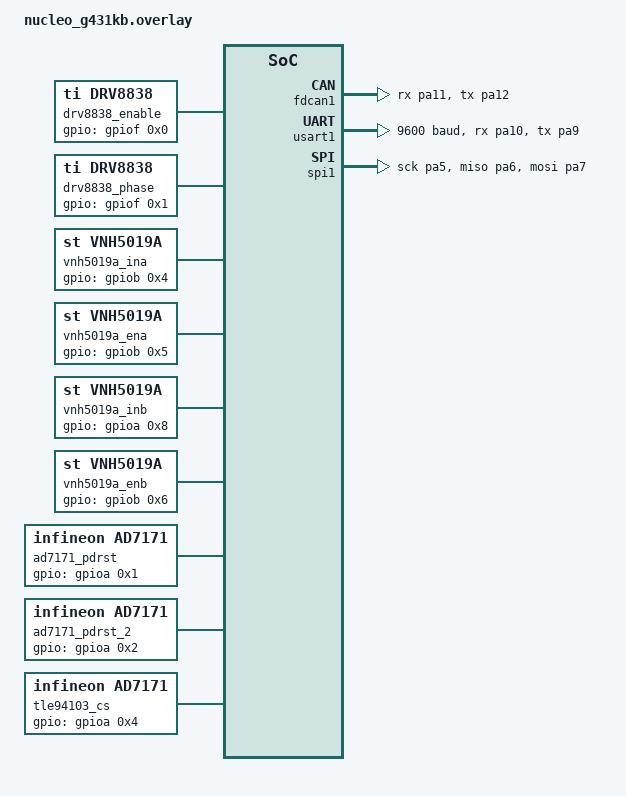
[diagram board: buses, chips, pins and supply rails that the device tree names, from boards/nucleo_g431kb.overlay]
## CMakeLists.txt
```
# SPDX-License-Identifier: Apache-2.0

cmake_minimum_required(VERSION 3.20.0)

find_package(Zephyr REQUIRED HINTS $ENV{ZEPHYR_BASE})
project(driverModule)
set(TARGET_NAME app)
set(sources src/main.cpp
            src/motor/tle94103.cpp
            src/motor/drv8838.cpp
            src/motor/vnh5019a.cpp
            src/buttons.cpp
            src/dictionary.cpp
            src/can/can.cpp
            src/lin/lin.cpp            
            src/spi/zephyrSpi.cpp             
            src/adc/adc.cpp)
            

#add_subdirectory(src/can)

target_sources(${TARGET_NAME} PRIVATE ${sources})
target_include_directories(${TARGET_NAME} PUBLIC ${PROJECT_SOURCE_DIR}/include 
                                                 ${PROJECT_SOURCE_DIR}/src/spi
                                                 ${PROJECT_SOURCE_DIR}/src/adc
                                                 ${PROJECT_SOURCE_DIR}/src/motor
                                                 ${PROJECT_SOURCE_DIR}/src/can
                                                 ${PROJECT_SOURCE_DIR}/src/lin)
```

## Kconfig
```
# Private config options for can sample app

# Copyright (c) 2018 Alexander Wachter
# SPDX-License-Identifier: Apache-2.0

mainmenu "SocketCAN sample application"

config SAMPLE_SOCKETCAN_LOOPBACK_MODE
	bool "Loopback mode"
	default n
	help
	  Set the controller to loopback mode.
	  This allows testing without a second board.

source "Kconfig.zephyr"
```

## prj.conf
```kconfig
CONFIG_CAN=y
CONFIG_NET_L2_ETHERNET=n
#CONFIG_CAN_MAX_FILTER=5

CONFIG_NETWORKING=y
CONFIG_NET_DRIVERS=y
CONFIG_NET_CANBUS=y
CONFIG_NET_SOCKETS=y
CONFIG_NET_SOCKETS_CAN=y
CONFIG_POSIX_API=y

CONFIG_NET_IPV6=n
CONFIG_NET_IPV4=n
CONFIG_NET_MGMT=n
CONFIG_NET_TCP=n
CONFIG_NET_UDP=n

CONFIG_NET_DEFAULT_IF_CANBUS_RAW=y

CONFIG_NET_PKT_RX_COUNT=30
CONFIG_NET_PKT_TX_COUNT=30
CONFIG_NET_BUF_RX_COUNT=30
CONFIG_NET_BUF_TX_COUNT=30

CONFIG_TEST_RANDOM_GENERATOR=n

CONFIG_LOG=y
CONFIG_NET_LOG=y

CONFIG_NET_SOCKETS_LOG_LEVEL_DBG=y
CONFIG_CAN_LOG_LEVEL_DBG=y
#CONFIG_NET_CONTEXT_LOG_LEVEL_DBG=y
#CONFIG_NET_CORE_LOG_LEVEL_DBG=y
#CONFIG_NET_CONN_LOG_LEVEL_DBG=y

# Use smaller buffers for net_buf as CANBUS packets are quite small.
CONFIG_NET_BUF_DATA_SIZE=64

CONFIG_SPI=y
CONFIG_CPP=y
CONFIG_UART_ASYNC_API=y
CONFIG_ADC=n

#power management
CONFIG_PM=y
CONFIG_PM_DEVICE=y
CONFIG_PM_DEVICE_RUNTIME=y
CONFIG_PM_DEVICE_SYSTEM_MANAGED=y
CONFIG_POWEROFF=y
```

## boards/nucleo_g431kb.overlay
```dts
&fdcan1{
  pinctrl-0 = <&fdcan1_rx_pa11 &fdcan1_tx_pa12>;
  pinctrl-names = "default";
  clocks= <&rcc STM32_CLOCK(APB1,25)>,<&rcc STM32_SRC_PLL_Q FDCAN_SEL(1)>;
  status = "okay";
};

&usart1{
  pinctrl-0 = <&usart1_rx_pa10 &usart1_tx_pa9>;
  pinctrl-names = "default";
  current-speed = <9600>;
  clocks = <&rcc STM32_CLOCK(APB2, 14)>,<&rcc STM32_SRC_HSI USART1_SEL(2)>;  
  status = "okay";
  lin-mode;
  wakeup-source;
  wakeup-line = <25>;
  dmas = <&dmamux1 2 25 (STM32_DMA_PERIPH_TX |  STM32_DMA_PRIORITY_HIGH)>,
         <&dmamux1 1 24 (STM32_DMA_PERIPH_RX |  STM32_DMA_PRIORITY_HIGH)>;
  dma-names="tx","rx";
};

&dma1{
  status="okay";
};

&dmamux1 {
  status="okay";
};

&spi1{
  pinctrl-0 = <&spi1_sck_pa5
               &spi1_miso_pa6
               &spi1_mosi_pa7>;
  pinctrl-names = "default";  
  status = "okay";
};

&spi1_sck_pa5{
  /delete-property/ bias-pull-down;
  drive-push-pull;
};


&{/chosen}{
 zephyr,canbus =&fdcan1;
};

/{
    drv8838_enable: drv8838_enable{
      compatible = "ti,drv8838";
      gpios = <&gpiof 0x0 GPIO_ACTIVE_HIGH>;
    };

    drv8838_phase: drv8838_phase{
      compatible = "ti,drv8838";
      gpios = <&gpiof 0x1 GPIO_ACTIVE_HIGH>;
    };

    vnh5019a_ina: vnh5019a_ina{
      compatible = "st,vnh5019a";
      gpios = <&gpiob 0x4 GPIO_ACTIVE_HIGH>;
    };

    vnh5019a_ena: vnh5019a_ena{
      compatible = "st,vnh5019a";
      gpios = <&gpiob 0x5 GPIO_ACTIVE_HIGH>;
    };

    vnh5019a_inb: vnh5019a_inb{
      compatible = "st,vnh5019a";
      gpios = <&gpioa 0x8 GPIO_ACTIVE_HIGH>;
    };

    vnh5019a_enb: vnh5019a_enb{
      compatible = "st,vnh5019a";
      gpios = <&gpiob 0x6 GPIO_ACTIVE_HIGH>;
    };

    ad7171_pdrst: ad7171_pdrst{
      compatible = "infineon,ad7171";
      gpios = <&gpioa 0x1 GPIO_ACTIVE_HIGH>;
    };

    ad7171_pdrst_2: ad7171_pdrst_2{
      compatible = "infineon,ad7171";
      gpios = <&gpioa 0x2 GPIO_ACTIVE_HIGH>;
    };

    tle94103_cs: tle94103_cs{
      compatible = "infineon,ad7171";      
      gpios = <&gpioa 0x4 (GPIO_ACTIVE_HIGH | GPIO_LINE_OPEN_DRAIN) >;
    };
};





/*************************************
&adc1 {
  pinctrl-0 = <&adc1_in1_pa0 &adc1_in2_pa1>;
  pinctrl-names = "default";
	#address-cells = <1>;
	#size-cells = <0>;
  st,adc-clock-source = "SYNC";  
  st,adc-prescaler = <1>;
  st,adc-internal-regulator = "startup-sw-delay";
	status = "okay";
	channel@1 {
		reg = <1>;
		zephyr,gain = "ADC_GAIN_1";
		zephyr,reference = "ADC_REF_INTERNAL";
    zephyr,vref-mv = <3300>;
		zephyr,acquisition-time = <ADC_ACQ_TIME_DEFAULT>;	
		zephyr,resolution = <12>;
  };
  channel@2 {
		reg = <2>;
		zephyr,gain = "ADC_GAIN_1";
		zephyr,reference = "ADC_REF_INTERNAL";
    zephyr,vref-mv = <3300>;
		zephyr,acquisition-time = <ADC_ACQ_TIME_DEFAULT>;	
		zephyr,resolution = <12>;
	};
};
****************************************/

/************************
/ {
	  zephyr,user {
		  io-channels = <&adc1 1>,< &adc1 2>;
	};
};
***********************/
```

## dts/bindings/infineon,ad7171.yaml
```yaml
description: GPIOs for the AD7171 Analog to Digital converter

compatible: "infineon,ad7171"
properties:
  gpios:
    type: phandle-array
    required: true
    description: |
      gpios use for the ad7171.
```

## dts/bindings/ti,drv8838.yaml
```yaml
description: GPIOs or the DRV8838 motor driver

compatible: "ti,drv8838"
properties:
  gpios:
    type: phandle-array
    required: true
    description: |
      gpios use for the drv8838 motor driver.
```

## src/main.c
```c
/*
 * Copyright (c) 2018 Intel Corporation.
 *
 * SPDX-License-Identifier: Apache-2.0
 */
#include <zephyr/logging/log.h>
LOG_MODULE_REGISTER(main, LOG_LEVEL_DBG);
#include <zephyr/kernel.h>
#include <zephyr/device.h>
#include <zephyr/drivers/spi.h>
#include "canConfig.h"
#include "spiConfig.h"

static void vMain(void);
#define STACK_SIZE 1024
#define PRIORITY K_PRIO_PREEMPT(15)

/* Thread definitions*/
K_THREAD_DEFINE(MainThread, STACK_SIZE, vMain, NULL, NULL, NULL,
								PRIORITY, 0, 0);

/******************************************
 *   Main
 *******************************************/
void vMain(void)
{

	int ret = 0;
	canConfig();
	if ((ret = sendDrvMsg()) != 0)
		LOG_ERR("Spi Device Failed with code (%d)", ret);
	else
		LOG_DBG("Spi Sent Successful");
	while (1)
	{
		k_yield();
	}
}
```

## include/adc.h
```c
#pragma once

#define DT_SPEC_AND_COMMA(node_id, prop, idx) \
  ADC_DT_SPEC_GET_BY_IDX(node_id, idx),

class adc : public inputInterface
{

public:
  adc();
  ~adc() {};
  int8_t  readInput(uint8_t *, size_t) override;
  uint8_t *getInput(void) override;
  bool getDataReady(void) override;
  int getError(void) { return err; }

private:
  zephyrSpiBuilder<uint8_t, int16_t> spibuilder;
  spiInterface<uint8_t, int16_t> *spi = spibuilder.factoryMethod(&spi_cfg);
  int err;
  struct spi_config spi_cfg =
      {
          .frequency = 1000000U,
          .operation = SPI_OP_MODE_MASTER | SPI_TRANSFER_MSB |
                       SPI_WORD_SET(8) | SPI_MODE_CPOL | SPI_MODE_CPHA,
          .slave = 0x0};
  uint8_t rxBuffer[3] = {0};
  float voltage;
};
```

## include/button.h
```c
class buttons{


};
```

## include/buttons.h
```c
#pragma once

// byte 0
#define maskRIGTHWINDOWUP 0x10
#define maskRIGTHWINDOWDOWN 0x08
#define maskRIGTHWINDOWDOWNCONT 0x28
#define maskLEFTWINDOWUP 0x02
#define maskLEFTWINDOWDOWN 0x01
#define maskLEFTWINDOWDOWNCONT 0x05

// byte 1
#define maskMIRRORSELECTRIGHT 0x80
#define maskMIRRORSELECTLEFT 0x40

// byte 2
#define maskMIRRORUP 0x01
#define maskMIRRORDOWN 0x02
#define maskMIRRORLEFT 0x04
#define maskMIRRORRIGHT 0x08
#define maskLOCK 0x40
#define maskUNLOCK 0x80

#define LEFT 0x0
#define RIGHT 0x1

#define RXMSGLENGTH 7

struct device *device = (struct device *)DEVICE_DT_GET(DT_NODELABEL(usart1));

typedef void (motorInterface::*motor_func_t)(uint8_t);

struct Actions
{
  uint8_t mask;
  uint8_t *side;
  motor_func_t motor;
};

struct data
{
  uint8_t u8PrevState;
  uint8_t u8BufferIndex;
  motorInterface *motorClassPtr;
  struct Actions stActions[8];
};

class Buttons
{

public:
  Buttons() {};
  ~Buttons() {}
  LIN *getDriver() { return linButtonsReader.getLinDriver(); }
  void Task(void);
  uint8_t CalculateChecksum(uint8_t *ptr, size_t length);

private:
  
  /* mirror motor interface*/
  tle94103MotorBuilder mirrorMotorBuilder;
  motorInterface *mirror = mirrorMotorBuilder.factoryMethod(&CanDriver);
  /* latch motor interface*/
  drv8838MotorBuilder latchMotorBuilder;
  motorInterface *lock = latchMotorBuilder.factoryMethod(&CanDriver);
  /*window motor interface*/
  static vnh5019aMotorBuilder windowMotorBuilder;
  motorInterface *window = windowMotorBuilder.factoryMethod(&CanDriver);

  linInputBuilder linButtonsReader;
  adcInputBuilder adcButtonsReader;

  can CanDriver;

  uint8_t u8RightWindow = RIGHT;
  uint8_t u8LeftWindow = LEFT;
  uint8_t u8Mirror = LEFT;

  struct data stWindow =
      {
          0x0,
          0x1,
          window,
          {{maskLEFTWINDOWUP, &u8LeftWindow, &motorInterface::Up},
           {maskLEFTWINDOWDOWN, &u8LeftWindow, &motorInterface::Down},
           {maskLEFTWINDOWDOWNCONT, &u8LeftWindow, &motorInterface::Down},
           {maskRIGTHWINDOWUP, &u8RightWindow, &motorInterface::Up},
           {maskRIGTHWINDOWDOWN, &u8RightWindow, &motorInterface::Down},
           {maskRIGTHWINDOWDOWNCONT, &u8RightWindow, &motorInterface::Down},
           {0x0, nullptr, &motorInterface::Idle},
           {0x0, nullptr, nullptr}}};

  struct data stMirror =
      {
          0x0,
          0x3,
          mirror,
          {{maskMIRRORUP, &u8Mirror, &motorInterface::Up},
           {maskMIRRORDOWN, &u8Mirror, &motorInterface::Down},
           {maskMIRRORLEFT, &u8Mirror, &motorInterface::Left},
           {maskMIRRORRIGHT, &u8Mirror, &motorInterface::Right},
           {0x0, nullptr, &motorInterface::Idle},
           {0x0, nullptr, nullptr}}};

  struct data stLock =
      {
          0x0,
          0x3,
          lock,
          {{maskLOCK, nullptr, &motorInterface::Up},
           {maskUNLOCK, nullptr, &motorInterface::Down},
           {0x0, nullptr, &motorInterface::Idle},
           {0x0, nullptr, nullptr}}};
};
```

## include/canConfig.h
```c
#pragma once

int canConfig(void);
```

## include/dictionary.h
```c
#pragma once


#define configMAXARRAYSIZE 10
#define configDICTIONARYSIZE 5
#define DELIMITER 0xFF

#define READ 0
#define WRITE 1

typedef enum 
{
   eUNSIGEND8,
   eSIGNED8,
   eUNSIGNED16,
   eSIGNED16,
   eUNSIGNED32,
   eSIGNED32,
   eUNSIGNED64,
   eSIGNED64,
   eFLOAT
}eDataType;

typedef struct 
{
  uint8_t uMessageId;
  uint8_t uReadWrite;
  eDataType enDataType;
  void *pvData;
  void (*vCallback)(uint8_t);
  
}__attribute__((packed)) stDictionary;

typedef struct
{
  uint8_t uMessageId;
  uint8_t uReadWrite;
  eDataType enDataType;

}__attribute__((packed)) stMessageHeader;;

typedef struct Queue
{
  struct Queue *xpHead;
  struct Queue *xpNextElement;
  void *vpQueueData;
  size_t xlength;

}stQueueList;

class Dictionary{

public:
  Dictionary(){
    k_sem_init(&QueueSemaphore,0,1);
    

  }
  ~Dictionary()= default;
  int8_t AddDataToQueue(void * , int );
  int8_t NextQueueElement(void * , int*);
  int SemaphoreTake(void){return k_sem_take(&QueueSemaphore,K_MSEC(50));}
  void SemaphoreGive(void){k_sem_give(&QueueSemaphore);}
  int8_t GetNextQueueElement(void **ppvprvData, int *piprvLength);
  int8_t LookUpMessage(uint8_t uprvMessageId);
  void GetCastedData(void *vpprvElement, eDataType eprvDataType, void *vpprvDest);
  stQueueList* CreateNode(void);
  void Task(void);

private:
    
  struct k_sem QueueSemaphore;
  stQueueList *xpQueue=NULL;
  stQueueList *xpQueueIndex=NULL;
  stQueueList *xpProcessDataIndex=NULL;
  stDictionary *xpDictionaryEntry=NULL;
  stDictionary xDictionary[configDICTIONARYSIZE]=
  {
    {.uMessageId=0x44,.enDataType=eUNSIGNED16,.pvData=nullptr,.vCallback=nullptr},
    {.uMessageId=0x55,.enDataType=eUNSIGNED16,.pvData=nullptr,.vCallback=nullptr},
    {.uMessageId=DELIMITER}
  };

};


Dictionary *getDictionaryInstance(void);
```

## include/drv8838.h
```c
#pragma once

class drv8838: public motorInterface
{

public:
  drv8838(can *);
  ~drv8838(){};
  void Right(uint8_t) override;
  void Left(uint8_t) override;
  void Down(uint8_t) override;
  void Up(uint8_t) override;
  void Idle(uint8_t) override;
  void setCanDriver(can *driver){CanDriver=driver;}

private:

  can *CanDriver;
  uint8_t canTxBufer[2];
};
```

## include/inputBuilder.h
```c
#pragma once
#include "inputInterface.h"


class inputBuilder
{
public:
  virtual ~inputBuilder() {};
  virtual inputInterface *factoryMethod(struct device *, uint8_t *, size_t, uint8_t, uart_callback_t) = 0;
};
```

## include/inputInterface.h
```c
#pragma once

class inputInterface
{

public:
  virtual ~inputInterface() {};

  virtual int8_t readInput(uint8_t *, size_t) = 0;
  virtual int8_t getInput(uint8_t *buffer) = 0;
  virtual bool isDataReady(void) = 0;
  virtual int8_t getError(void) = 0;
};
```

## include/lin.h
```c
#pragma once
#include "inputInterface.h"

#define SynchData 0x55

class LIN : public inputInterface
{

public:
  typedef enum
  {
    TXDONE,
    RXDONE,
    RXERROR,
  } eFlags;

  LIN(struct device *, uint8_t *, size_t, uint8_t);
  ~LIN() {};
  int8_t Transmit(uint8_t *, size_t);
  int8_t Receive(uint8_t *, size_t);
  void setCallback(uart_callback_t);
  void setDevice(struct device *dev) { this->dev = dev; }
  struct device *getDevice() { return dev; }
  int16_t getError() { return error; }
  void setFlag(eFlags flag);
  void clearFlag(eFlags flag);
  uint8_t getFlags(void) { return flags; }
  void setProtectedID(uint8_t id) { protectedId = id; }
  uint8_t *getRxBuffer(void) { return &rxBuffer[1]; }
  void callBack(const struct device *dev, struct uart_event *evt, void *user_data);
  int8_t readInput(uint8_t *, size_t) override;
  uint8_t *getInput(void) override;
  bool getDataReady(void) override;

private:
  uint8_t IdentifierFieldParity(uint8_t);
  // void Callback(const struct device *dev, struct uart_event *evt, void *user_data);
  int16_t error;
  void (*callback)(const struct device *dev, struct event *evt, void *user_data);
  struct device *dev;
  uint8_t flags;
  uint8_t protectedId;
  uint8_t txBuffer[10];
  uint8_t *rxBuffer;
};

typedef void (LIN::*callBackPtr)(const struct device *, struct uart_event *, void *);
```

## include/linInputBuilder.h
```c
#pragma once
#include "inputInterface.h"
#include "inputBuilder.h"
#include "lin.h"
class linInputBuilder : public inputBuilder
{

public:
  inputInterface *factoryMethod(struct device *device, uint8_t *rxBuffer, size_t size, uint8_t length, uart_callback_t func) override
  {
    Driver = new LIN(device, rxBuffer, size, length, func);

    if(Driver->enableReceive() != 0)
      return nullptr;
    else    
      return Driver;
  }
  LIN *getLinDriver() { return Driver; }

private:
  LIN *Driver;
};
```

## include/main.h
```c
#pragma once

void getSpiMutex();
void releaseSpiMutex();
```

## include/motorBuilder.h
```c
#pragma once
#include "motorInterface.h"
#include "tle94103.h"
#include "drv8838.h"
#include "vnh5019a.h"

class motorBuilder{
  public:
    virtual ~motorBuilder(){};
    virtual motorInterface *factoryMethod(can *interface)=0;

};

class tle94103MotorBuilder : public motorBuilder
{
  public:
    
    motorInterface *factoryMethod(can *interface) override{      
      return new Tle94103(interface);      
  }

};

class drv8838MotorBuilder : public motorBuilder
{
  public:
    motorInterface *factoryMethod(can *interface) override{     
      return new drv8838(interface);
  }

};

class vnh5019aMotorBuilder : public motorBuilder
{
  public:
    motorInterface *factoryMethod(can *interface) override{
      return new vnh5019a(interface);
  }

};
```
